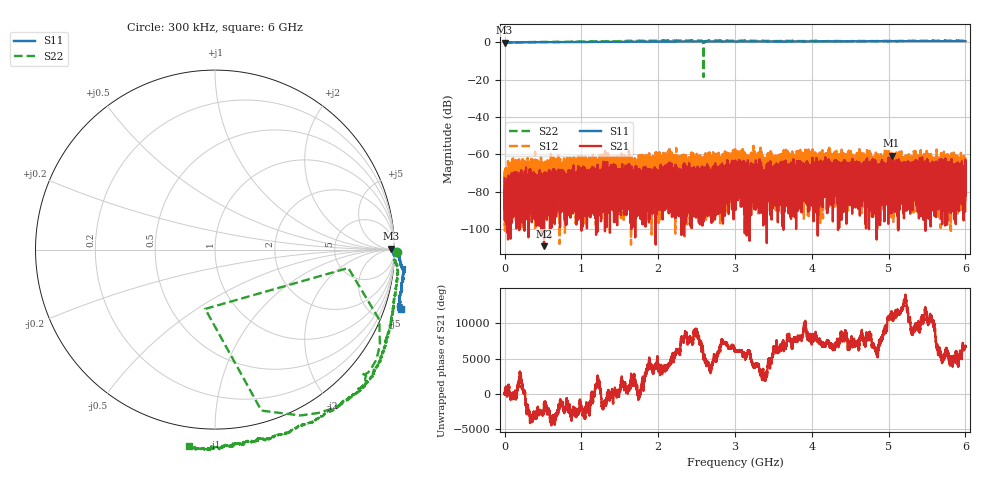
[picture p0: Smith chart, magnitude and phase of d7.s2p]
!Agilent Technologies,N5230C,SG49000117,A.08.50.07
!Agilent N5230C: A.08.50.07
!Date: Thursday, May 16, 2024 19:28:06
!Correction: S11(Full 2 Port(1,2))
!S21(Full 2 Port(1,2))
!S12(Full 2 Port(1,2))
!S22(Full 2 Port(1,2))
!S2P File: Measurements: S11, S21, S12, S22:
# Hz S  MA  R 50
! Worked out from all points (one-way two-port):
!   20001 points, 300 kHz to 6 GHz, reference 50 ohm
!   highest |S21| = -60.76 dB at 5.039 GHz (marker M1); lowest = -109.3 dB at 513.6 MHz (marker M2)
!   lowest |S11| = -0.1 dB at 600 kHz (marker M3), VSWR 117.70, Z = 5.4e+03 + j1.61e+03 ohm
!   |S11| at or under -10 dB: nowhere
!   |S22| runs from -18.6 to 1.1 dB; largest |S21 - S12| = 0.0018
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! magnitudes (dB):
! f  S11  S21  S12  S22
! 300 kHz  0.1  -72.7  -69.4  0.1
! 600 kHz  -0.1  -83.0  -77.5  -0.3
! 32.1 MHz  0.0  -79.1  -78.4  0.0
! 161.7 MHz  0.1  -78.4  -72.6  0.1
! 513.6 MHz  0.2  -109.3  -69.1  0.2
! 1 GHz  0.3  -73.4  -66.8  0.4
! 1.175 GHz  0.3  -73.6  -64.2  0.5
! 1.283 GHz  0.3  -76.1  -66.8  0.6
! 2 GHz  0.5  -74.7  -71.9  1.0
! 2.151 GHz  0.5  -73.8  -70.7  1.0
! 2.392 GHz  0.5  -74.3  -81.7  1.1
! 3 GHz  0.5  -67.0  -71.0  0.9
! 3.315 GHz  0.5  -68.9  -64.9  0.9
! 3.381 GHz  0.5  -79.6  -63.3  0.8
! 3.827 GHz  0.5  -72.4  -64.9  0.8
! 4 GHz  0.5  -72.5  -60.2  0.8
! 4.167 GHz  0.6  -66.7  -64.3  0.7
! 4.439 GHz  0.7  -64.6  -64.4  0.7
! 5 GHz  0.7  -66.8  -66.8  0.8
! 5.039 GHz  0.7  -60.8  -62.3  0.8
! 5.959 GHz  0.7  -78.3  -70.4  0.9
! 6 GHz  0.7  -69.1  -81.3  0.9
